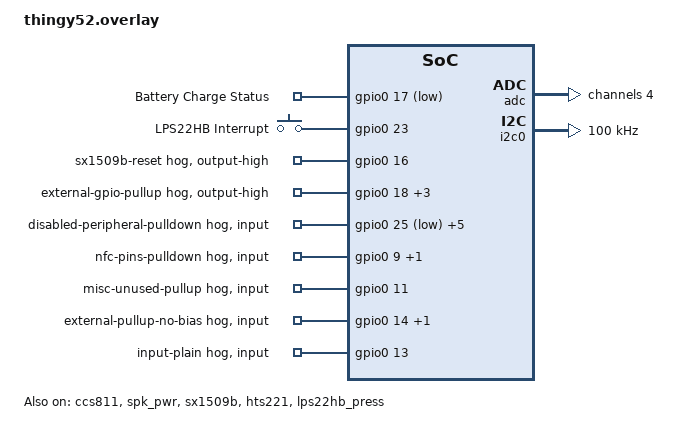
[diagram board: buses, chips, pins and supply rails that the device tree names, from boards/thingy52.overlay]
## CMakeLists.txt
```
#
# Copyright (c) 2020 Nordic Semiconductor ASA
#
# SPDX-License-Identifier: LicenseRef-Nordic-5-Clause
#
cmake_minimum_required(VERSION 3.20.0)

set_property(GLOBAL PROPERTY CSTD c11)

find_package(Zephyr REQUIRED HINTS $ENV{ZEPHYR_BASE})
project(nrf_thingy_env_monitor)

# NORDIC SDK APP START
target_sources(app PRIVATE
	src/main.c
	src/board.c
	src/sensor_manager.c
	src/sensor_hts221_driver.c
	src/sensor_lps22hb_driver.c
	src/sensor_ccs811_driver.c
	src/ble_advertiser.c
	src/battery_service.c
	src/ble_battery_service.c
	src/ess_service.c
	src/ess_encode.c
	src/uptime_service.c
	src/device_naming.c
	)

if(CONFIG_APP_SHELL)
	target_sources(app PRIVATE src/app_shell.c)
endif()

target_include_directories(app PRIVATE include)

# Add ST register API includes for HTS221 direct register access
target_include_directories(app PRIVATE $ENV{ZEPHYR_BASE}/drivers/sensor/st/stmemsc)
target_include_directories(app PRIVATE ${CMAKE_SOURCE_DIR}/../modules/zephyr/drivers/sensor/st/hts221)
target_include_directories(app PRIVATE ${CMAKE_SOURCE_DIR}/../modules/zephyr/drivers/sensor/st/lps22hb)
target_include_directories(app PRIVATE ${CMAKE_SOURCE_DIR}/../modules/zephyr/drivers/sensor/ams/ccs811)

# NORDIC SDK APP END
```

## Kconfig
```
mainmenu "BLE Environmental Sensor Configuration"

# Allow `west build ... -DCONFIG_COVERAGE=y` for the firmware build to emit
# .gcno files for every app/src/*.c at compile time. gcov instrumentation
# is purely a compile-time concern (it tags basic blocks via -fprofile-arcs
# -ftest-coverage); no runtime gcov dump is required for baseline reporting.
config HAS_COVERAGE_SUPPORT
	default y

config SENSOR_PERIODIC_SAMPLING
	bool "Periodic sensor sampling while connected"
	default n
	help
	  When enabled, env and air-quality sensors are re-read on a timer for
	  as long as at least one GATT client remains connected.

	  When disabled (default), the firmware reads sensors once at boot and
	  once on each new connection (plus on-demand via GATT read/notify).

config SENSOR_ENV_INTERVAL_SEC
	int "Environmental sensor sampling interval in seconds"
	default 900
	range 30 86400
	depends on SENSOR_PERIODIC_SAMPLING
	help
	  Period between environmental sensor reads (temperature, humidity,
	  pressure, battery) while a GATT client is connected. Also the base
	  period for the CCS811 read, scaled by SENSOR_AIR_QUALITY_DIVISOR.

config SENSOR_AIR_QUALITY_DIVISOR
	int "CCS811 read frequency divisor relative to main interval"
	default 2
	range 1 100
	depends on SENSOR_PERIODIC_SAMPLING
	help
	  CCS811 is read once every N intervals of SENSOR_ENV_INTERVAL_SEC.

config APP_SHELL
	bool "GATT-path debug shell"
	default n
	select SHELL
	select SHELL_BACKEND_SERIAL
	help
	  UART shell that invokes the same connect, characteristic-read, CCC,
	  and disconnect application paths a BLE central uses. Leave disabled
	  in production firmware.

source "Kconfig.zephyr"
```

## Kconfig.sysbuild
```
#
# Copyright (c) 2023 Nordic Semiconductor
#
# SPDX-License-Identifier: LicenseRef-Nordic-5-Clause
#

source "share/sysbuild/Kconfig"

config NRF_DEFAULT_IPC_RADIO
	bool
	default y
```

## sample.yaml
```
sample:
  description: BLE Environmental Sensor (ESS, BAS, DIS) for Thingy:52
  name: thingy52_env_monitor
tests:
  sample.bluetooth.mesh.sensor_server:
    sysbuild: true
    build_only: true
    integration_platforms:
      - nrf52dk/nrf52832
      - nrf52840dk/nrf52840
      - thingy53/nrf5340/cpuapp
      - nrf21540dk/nrf52840
      - nrf54l15dk/nrf54l15/cpuapp
      - nrf54l15dk/nrf54l10/cpuapp
      - nrf54l15dk/nrf54l05/cpuapp
    platform_allow:
      - nrf52dk/nrf52832
      - nrf52840dk/nrf52840
      - thingy53/nrf5340/cpuapp
      - nrf21540dk/nrf52840
      - nrf54l15dk/nrf54l15/cpuapp
      - nrf54l15dk/nrf54l10/cpuapp
      - nrf54l15dk/nrf54l05/cpuapp
    tags:
      - bluetooth
      - ci_build
      - sysbuild
  thingy52.env_monitor.hil.shell:
    platform_allow:
      - thingy52/nrf52832
    integration_platforms:
      - thingy52/nrf52832
    extra_args:
      - EXTRA_CONF_FILE=shell.conf
    harness: pytest
    harness_config:
      pytest_root:
        - tests/hardware_shell/pytest
      pytest_dut_scope: session
    timeout: 300
    min_ram: 48
    tags:
      - hil
      - shell
      - gatt
```

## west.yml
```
manifest:
  defaults:
    remote: ncs

  remotes:
    - name: ncs
      url-base: https://github.com/nrfconnect
    - name: ronan
      url-base: https://github.com/RonanB96
    - name: zephyrproject
      url-base: https://github.com/zephyrproject-rtos

  projects:
    # Custom Zephyr with CCS811 fixes and hal_nordic support
    - name: zephyr
      remote: ronan
      repo-path: sdk-zephyr
      path: modules/zephyr
      revision: ccs811_updates
      west-commands: scripts/west-commands.yml
      import:
        # Import only essential modules for Nordic nRF52832 BLE development
        file: west.yml
        name-allowlist:
          # Essential Nordic HAL for nRF52832
          - hal_nordic
          # Essential ST HAL for HTS221, LPS22HB sensors
          - hal_st
          # Essential modules for sensors and basic functionality
          - cmsis
          - fatfs
          - tinycrypt
          # Optional but useful for debugging
          - segger

    # Minimal NCS for samples defaults and DK library
    - name: sdk-nrf
      remote: ncs
      path: nrf
      revision: v3.0.2
      import:
        # Import minimal NCS components
        file: west.yml
        path-prefix: modules
        # Only include essential Nordic libraries
        name-allowlist:
          # Skip matter entirely for size optimization
          # Include essential Nordic libraries for nRF52832 BLE
          - mcuboot
          - nrfxlib

  self:
    path: app
```

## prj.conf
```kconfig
#
# Copyright (c) 2020 Nordic Semiconductor ASA
#
# SPDX-License-Identifier: LicenseRef-Nordic-5-Clause
#
# CONFIG_NCS_SAMPLES_DEFAULTS=y  # Disabled - pulls in unwanted modem/thread dependencies

# Deferred logging helps improve LPN power consumption
# when friendship is established.
CONFIG_LOG=y
CONFIG_LOG_MODE_DEFERRED=y
CONFIG_LOG_BUFFER_SIZE=4096
CONFIG_LOG_PROCESS_THREAD_STACK_SIZE=2048

# General configuration
CONFIG_NCS_APPLICATION_BOOT_BANNER_STRING="BLE Env Monitor"
CONFIG_SYSTEM_WORKQUEUE_STACK_SIZE=16384
CONFIG_MAIN_STACK_SIZE=4096
CONFIG_IDLE_STACK_SIZE=2048
CONFIG_ISR_STACK_SIZE=4096
CONFIG_FLASH=y
CONFIG_FLASH_MAP=y
CONFIG_NVS=y
CONFIG_NVS_LOOKUP_CACHE=y
CONFIG_SETTINGS=y
CONFIG_SETTINGS_NVS_NAME_CACHE=y
CONFIG_HWINFO=y
CONFIG_DK_LIBRARY=y
CONFIG_PM_PARTITION_SIZE_SETTINGS_STORAGE=0x8000
CONFIG_FPU=y
CONFIG_CBPRINTF_FP_SUPPORT=y

# Temperature sensor
CONFIG_SENSOR=y
CONFIG_TEMP_NRF5=y

# ADC for battery monitoring
CONFIG_ADC=y

# Bluetooth configuration for advertising
CONFIG_BT=y
CONFIG_BT_DEVICE_NAME="BLE Env Monitor"
CONFIG_BT_L2CAP_TX_BUF_COUNT=8
CONFIG_BT_OBSERVER=y
CONFIG_BT_PERIPHERAL=y
CONFIG_BT_SETTINGS=y

# Enable Bluetooth security features for production
CONFIG_BT_CTLR_LE_ENC=y
CONFIG_BT_PHY_UPDATE=n
CONFIG_BT_CTLR_CHAN_SEL_2=n
CONFIG_BT_CTLR_MIN_USED_CHAN=n
CONFIG_BT_CTLR_PRIVACY=n

# BLE Advertising configuration - use legacy advertising for nRF52832
# CONFIG_BT_EXT_ADV=y

# BLE radio TX power. 0 dBm is the controller default; chosen explicitly here
# to make the power/range trade-off auditable. Drop to MINUS_4 / MINUS_8 if
# range allows, for further idle current reduction.
CONFIG_BT_CTLR_TX_PWR_0=y

# BLE Services
CONFIG_BT_BAS=y
CONFIG_BT_BAS_BLS=y

# Device Information Service (DIS)
CONFIG_BT_DIS=y
CONFIG_BT_DIS_MANUF_NAME=y
CONFIG_BT_DIS_MANUF_NAME_STR="Nordic Semiconductor"
CONFIG_BT_DIS_MODEL_NUMBER=y
CONFIG_BT_DIS_MODEL_NUMBER_STR="Thingy:52"
CONFIG_BT_DIS_SERIAL_NUMBER=y
CONFIG_BT_DIS_SERIAL_NUMBER_STR="ENV001"
CONFIG_BT_DIS_FW_REV=y
CONFIG_BT_DIS_FW_REV_STR="1.0.0"
CONFIG_BT_DIS_HW_REV=y
CONFIG_BT_DIS_HW_REV_STR="1.0"
CONFIG_BT_DIS_SW_REV=y
CONFIG_BT_DIS_SW_REV_STR="Zephyr"

# Environmental sensor sampling intervals (ultra-low power)
# Temperature, humidity, pressure, CO2, VOC: every 15 minutes
# Battery level: every 6 hours
# This configuration targets weeks to months of battery life

# === POWER MANAGEMENT ===
CONFIG_PM=y
CONFIG_PM_DEVICE=y
CONFIG_PM_DEVICE_RUNTIME=y

# Logging optimization to prevent message drops
CONFIG_LOG_DEFAULT_LEVEL=3
CONFIG_BT_LOG_LEVEL_INF=y

# Stack protection
CONFIG_STACK_CANARIES=y

# Use dedicated BT RX workqueue
CONFIG_BT_RECV_WORKQ_BT=y

# Debug
CONFIG_DEBUG=y
```

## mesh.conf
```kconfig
# Bluetooth Mesh configuration - Optimized for ultra-low power
# This file contains all mesh-specific configurations
# Include this file when you want to enable mesh functionality

CONFIG_BT_MESH=y
CONFIG_BT_MESH_RELAY=n
CONFIG_BT_MESH_FRIEND=n
CONFIG_BT_MESH_LOW_POWER=y
CONFIG_BT_MESH_LPN_AUTO=y
CONFIG_BT_MESH_LPN_ESTABLISHMENT=y

# Ultra-low power mesh timing (extend battery life to weeks/months)
# Maximum allowed poll timeout (244735ms ≈ 4 minutes)
CONFIG_BT_MESH_LPN_POLL_TIMEOUT=244735
# 200ms receive delay (within valid range)
CONFIG_BT_MESH_LPN_RECV_DELAY=200
# Maximum initial poll timeout (300ms)
CONFIG_BT_MESH_LPN_INIT_POLL_TIMEOUT=300

# Reduce mesh overhead for sensors
# Reduce max segments (was 6)
CONFIG_BT_MESH_TX_SEG_MAX=3
CONFIG_BT_MESH_PB_GATT=y
CONFIG_BT_MESH_GATT_PROXY=y
CONFIG_BT_MESH_PROXY_USE_DEVICE_NAME=y
CONFIG_BT_MESH_DK_PROV=y
CONFIG_BT_MESH_MODEL_KEY_COUNT=2

# Bluetooth Mesh Security Features
CONFIG_BT_MESH_FRIEND_ENABLED=n
CONFIG_BT_MESH_PROVISIONER=n
CONFIG_BT_MESH_PB_ADV=y
# Enhanced security for production
CONFIG_BT_MESH_IV_UPDATE_TEST=n
# Enable OOB authentication support
CONFIG_BT_MESH_ECDH_P256_CMAC_AES128_AES_CCM=y
CONFIG_BT_MESH_ECDH_P256_HMAC_SHA256_AES_CCM=y

# Bluetooth Mesh models
CONFIG_BT_MESH_SENSOR_SRV=y
CONFIG_BT_MESH_SENSOR_SRV_SENSORS_MAX=6

# Model extension configuration - match actual usage (2 extensions used)
CONFIG_BT_MESH_MODEL_EXTENSION_LIST_SIZE=2

# Stack sizes for mesh
CONFIG_BT_MESH_ADV_STACK_SIZE=1024
CONFIG_BT_RX_STACK_SIZE=3584

# Reduce mesh message config for power savings
# Reduce from 20
CONFIG_BT_MESH_ACCESS_DELAYABLE_MSG_CHUNK_COUNT=10
CONFIG_BT_MESH_TX_SEG_MSG_COUNT=1
# Reduce from 3
CONFIG_BT_MESH_ACCESS_DELAYABLE_MSG_COUNT=2

# Additional power optimizations
# Scan latency for LPN
CONFIG_BT_MESH_LPN_SCAN_LATENCY=30
# Reduce message cache
CONFIG_BT_MESH_MSG_CACHE_SIZE=2
# Single subnet only
CONFIG_BT_MESH_SUBNET_COUNT=1
# Single app key
CONFIG_BT_MESH_APP_KEY_COUNT=1

# Logging optimization
CONFIG_BT_MESH_LOG_LEVEL_WRN=y
```

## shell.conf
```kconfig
# Opt-in GATT-path debug shell. Do not enable in production firmware.

CONFIG_APP_SHELL=y

# Logs and the prompt share the FTDI UART.
CONFIG_SHELL_LOG_BACKEND=y
CONFIG_LOG_BACKEND_UART=n

# Trim RAM on nRF52832. Do not enable Zephyr BT/sensor shells.
CONFIG_SHELL_STACK_SIZE=2048
CONFIG_SHELL_CMD_BUFF_SIZE=128
CONFIG_SHELL_HISTORY=n
CONFIG_SHELL_WILDCARD=n
CONFIG_BT_SHELL=n
CONFIG_SENSOR_SHELL=n
CONFIG_KERNEL_SHELL=n
CONFIG_DEVICE_SHELL=n
```

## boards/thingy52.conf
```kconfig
# Thingy:52 Board-Specific Low Power Configuration
# Board-specific overrides for ultra-low power environmental monitoring
# Duplicates from prj.conf are removed - only Thingy52-specific settings remain

# === THINGY52 SENSOR CONFIGURATION ===
CONFIG_I2C=y
CONFIG_HTS221=y        # Temperature and humidity sensor (Thingy52 specific)
CONFIG_LPS22HB=y       # Pressure sensor (Thingy52 specific)
CONFIG_CCS811=y        # Gas sensor (Thingy52 specific)

# === SENSOR POWER OPTIMIZATION ===
# Default: sample at boot and on GATT connect only. Enable periodic sampling
# explicitly if a connected client should receive timed updates:
# CONFIG_SENSOR_PERIODIC_SAMPLING=y
# CONFIG_SENSOR_ENV_INTERVAL_SEC=900
# CONFIG_SENSOR_AIR_QUALITY_DIVISOR=2
CONFIG_HTS221_ODR="1"
CONFIG_LPS22HB_SAMPLING_RATE=1

# # === CCS811 AIR QUALITY SENSOR OPTIMIZATION ===
# Zephyr driver default mode (app overrides to IDLE after init; 10s during conditioning).
CONFIG_CCS811_DRIVE_MODE_2=y    # 10-second mode — matches Nordic Thingy:52 default gas interval

# Enable interrupt-based CCS811 data ready triggers
CONFIG_CCS811_TRIGGER_GLOBAL_THREAD=y
CONFIG_TEMP_NRF5=n     # Disable generic temp sensor (conflicts with HTS221)

# # Initialize CCS regulator after SX1509B
# CONFIG_REGULATOR_FIXED_INIT_PRIORITY=70

# === THINGY52 DEVICE NAMING ===
CONFIG_BT_DEVICE_NAME="Thingy52 BLE Monitor"
CONFIG_BT_DEVICE_NAME_DYNAMIC=y
CONFIG_BT_DEVICE_NAME_MAX=64

# === THINGY52 MEMORY OPTIMIZATION (Override main config for limited RAM) ===
CONFIG_MAIN_STACK_SIZE=4096
CONFIG_SYSTEM_WORKQUEUE_STACK_SIZE=4096
# Override: Reduce from 320 to 320
CONFIG_IDLE_STACK_SIZE=320
# Override: Reduce from 4096 to 512
CONFIG_ISR_STACK_SIZE=512
CONFIG_HEAP_MEM_POOL_SIZE=4096

# === THINGY52 BLE BUFFER OPTIMIZATION ===
# Override: Reduce from 8 to 4 for advertising
CONFIG_BT_L2CAP_TX_BUF_COUNT=4

# === BLE CONNECTED POWER (PPCP) ===
# Firmware samples on its own schedule (900 s env, 1800 s AQ); centrals may
# poll faster. PPCP advertises a preference for fewer connection events.
# Interval 3200 = 4000 ms (BLE maximum). Latency 80 is the highest that fits
# the Zephyr Kconfig timeout ceiling (65535 × 10 ms ≈ 655 s supervision).
# Central has final say; defaults were 30–50 ms with zero latency.
CONFIG_BT_GAP_PERIPHERAL_PREF_PARAMS=y
CONFIG_BT_GAP_AUTO_UPDATE_CONN_PARAMS=y
CONFIG_BT_PERIPHERAL_PREF_MIN_INT=3200
CONFIG_BT_PERIPHERAL_PREF_MAX_INT=3200
CONFIG_BT_PERIPHERAL_PREF_LATENCY=80
CONFIG_BT_PERIPHERAL_PREF_TIMEOUT=65535

# === THINGY52 POWER SAVINGS ===
CONFIG_DK_LIBRARY=n    # Override: Disable DK board features (not needed on Thingy52)
CONFIG_LED=n           # Disable LEDs completely (no user LEDs needed)

# === DISABLE UNUSED NRF FEATURES (BLE-only project) ===
CONFIG_NRF_MODEM_LIB=n  # Disable modem library (LTE/GPS not needed)
CONFIG_OPENTHREAD=n     # Disable Thread networking (BLE only)
# GPIO Configuration for Thingy:52 hardware control
CONFIG_GPIO=y          # Keep GPIO for sensors and battery monitoring
CONFIG_GPIO_HOGS=y     # Enable GPIO HOG support for P0.16 SX1509B reset
CONFIG_PWM=n           # Disable PWM completely
CONFIG_SPI=n           # Disable SPI completely
# CONFIG_UART_CONSOLE=n  # Disable UART console for power savings
# CONFIG_SERIAL=n        # Disable serial completely
# CONFIG_CONSOLE=n       # Disable console
# CONFIG_STDOUT_CONSOLE=n # Disable stdout
# CONFIG_PRINTK=n        # Disable printk for maximum power savings
# CONFIG_EARLY_CONSOLE=n  # Disable early console
# CONFIG_BOOT_BANNER=n   # Disable boot banner

# === THINGY52 CLOCK OPTIMIZATION ===
CONFIG_CLOCK_CONTROL_NRF_K32SRC_XTAL=y    # Use external 32kHz crystal (more accurate, lower power)
CONFIG_CLOCK_CONTROL_NRF_K32SRC_500PPM=y  # 500ppm accuracy sufficient

CONFIG_PM=n # Not valid for nrf52832

# === THINGY52 LOGGING OPTIMIZATION ===
CONFIG_SENSOR_LOG_LEVEL_INF=y
# Global warning level for power savings
CONFIG_LOG_DEFAULT_LEVEL=3
```

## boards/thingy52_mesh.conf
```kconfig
# Thingy52 Mesh-specific configuration
# Board-specific mesh overrides for ultra-low power

# === THINGY52 ULTRA-LOW POWER LPN SETTINGS (More aggressive than main) ===
# Override: More aggressive than main (30→50)
CONFIG_BT_MESH_LPN_SCAN_LATENCY=50
# Override: Use shorter timeout for initial testing (within valid range 10-244735)
CONFIG_BT_MESH_LPN_POLL_TIMEOUT=30000

# === THINGY52 MESH BUFFER OPTIMIZATION ===
# Override: Reduce from 8 to 2 for power savings
CONFIG_BT_L2CAP_TX_BUF_COUNT=2
```

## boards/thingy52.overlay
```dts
/*
 * Copyright (c) 2024 Nordic Semiconductor ASA
 *
 * SPDX-License-Identifier: LicenseRef-Nordic-5-Clause
 */

/*
 * Thingy52 Environmental Monitor Overlay
 * - Ensures sensors are properly configured
 * - Disables LEDs and buttons for power savings
 * - Uses Nordic's board.c power control approach for CCS811
 * - Configures all GPIO pins for optimal power consumption
 */

/* Ensure ADC is enabled for battery monitoring */
&adc {
	status = "okay";
	#address-cells = <1>;
	#size-cells = <0>;

	channel@4 {
		reg = <4>;
		zephyr,gain = "ADC_GAIN_1";
		zephyr,reference = "ADC_REF_INTERNAL";
		zephyr,acquisition-time = <ADC_ACQ_TIME(ADC_ACQ_TIME_MICROSECONDS, 40)>;
		zephyr,input-positive = <5>;  /* SAADC_CH_PSELP_PSELP_AnalogInput0 (1) + channel (4) = 5 */
		zephyr,resolution = <14>;
		zephyr,oversampling = <4>;    /* 4x oversampling for noise reduction like Nordic sample */
	};
};

/* Configure GPIO0 for SX1509B reset control */
&gpio0 {
	status = "okay";
	/*
	 * gpio-line-names: one entry per pin, empty string means no named owner.
	 * Names are taken from the DT node labels that reference each pin so this
	 * file remains the single source of truth consumed by board.c debug output.
	 */
	gpio-line-names =
		"xl1",         /* P0.00  XL1  (32 kHz crystal)               */
		"xl2",         /* P0.01  XL2  (32 kHz crystal)               */
		"uart0-rx",    /* P0.02  uart0 pinctrl RX                    */
		"uart0-tx",    /* P0.03  uart0 pinctrl TX                    */
		"ain2-vbatt",  /* P0.04  AIN2 (vbatt ADC)                    */
		"sx-oscio",    /* P0.05  SX_OSCIO (I/O expander oscillator)  */
		"mpu-int",     /* P0.06  MPU_INT (motion sensor interrupt)    */
		"i2c0-sda",    /* P0.07  i2c0 pinctrl SDA (sensors)          */
		"i2c0-scl",    /* P0.08  i2c0 pinctrl SCL (sensors)          */
		"nfc1",        /* P0.09  NFC1 (antenna, NFC disabled)        */
		"nfc2",        /* P0.10  NFC2 (antenna, NFC disabled)        */
		"button0",     /* P0.11  button0 gpios                       */
		"lis2dh12-irq",/* P0.12  lis2dh12 irq-gpios                  */
		"usb-detect",  /* P0.13  USB detect signal                   */
		"i2c1-sda",    /* P0.14  i2c1 pinctrl SDA (ext sensors)      */
		"i2c1-scl",    /* P0.15  i2c1 pinctrl SCL (ext sensors)      */
		"sx1509b-rst", /* P0.16  SX1509B hardware reset              */
		"charge-status",/* P0.17 charge_status gpios                 */
		"mos1",        /* P0.18  MOS_1 (N-MOSFET gate)               */
		"mos2",        /* P0.19  MOS_2 (N-MOSFET gate)               */
		"mos3",        /* P0.20  MOS_3 (N-MOSFET gate)               */
		"mos4",        /* P0.21  MOS_4 (N-MOSFET gate)               */
		"ccs811-irq",  /* P0.22  ccs811 irq-gpios                    */
		"lps22hb-int", /* P0.23  lps22hb interrupt                   */
		"hts221-drdy", /* P0.24  hts221 drdy-gpios                   */
		"mic-dout",    /* P0.25  MIC_DOUT (PDM data, disabled)       */
		"mic-clk",     /* P0.26  MIC_CLK  (PDM clock, disabled)      */
		"speaker",     /* P0.27  SPEAKER  (PWM, disabled)            */
		"battery-adc", /* P0.28  Battery monitoring (ADC AIN4)       */
		"spk-pwr",     /* P0.29  spk_pwr enable-gpios                */
		"vdd-pwr",     /* P0.30  vdd_pwr enable-gpios                */
		"bh-int";      /* P0.31  BH_INT (colour sensor interrupt)    */
};

/* Ensure battery voltage monitoring is enabled */
/ {
	vbatt {
		status = "okay";
		power-on-sample-delay-us = <10000>;  /* 10ms delay after power on for voltage stabilization */
	};

	/* Battery charging detection GPIO */
	charging {
		compatible = "gpio-keys";
		charge_status: charge_status {
			gpios = <&gpio0 17 GPIO_ACTIVE_LOW>;
			label = "Battery Charge Status";
		};
	};
};

/*
	CCS811 - Power Configuration
	Keep ccs_pwr disabled due to SX1509B initialization dependency issues.
	SX1509B pin 10 controlled via init-out-low instead.
	Use main VDD supply for CCS811 to avoid circular dependencies.
*/
&ccs811 {
	status = "okay";
	vin-supply = <&vdd_pwr>;  /* Use main VDD power supply */
	irq-gpios = <&gpio0 22 (GPIO_ACTIVE_LOW | GPIO_PULL_UP)>;
};

// Enabled by turned off by default
&spk_pwr {
	status = "okay";
};

// Leaving disabled as the cannot be used with the IO expander
// due to initialization timing issues
&ccs_pwr {
	status = "disabled";
};

&mpu_pwr {
	status = "disabled";
	/* IO8 - MPU power control - starts disabled (OUTPUT LOW) */
};

&mic_pwr {
	status = "disabled";
	/* IO9 - Microphone power control - starts disabled (OUTPUT LOW) */
};

/* SX1509B GPIO Expander - Configure initialization priority */
&sx1509b {
	status = "okay";
};

/* Ensure environmental sensors are enabled (they exist in base DTS but may need status = "okay") */
&hts221 {
	status = "okay";
	// drdy-gpios = <&gpio0 24 GPIO_ACTIVE_LOW>;
};

&lps22hb_press {
	status = "okay";
};

/* Disable LEDs for power savings (LEDs are controlled by SX1509B GPIO expander) */
&led0 {
	status = "disabled";
};

&led1 {
	status = "disabled";
};

&led2 {
	status = "disabled";
};

/* Disable buttons for power savings */
&button0 {
	status = "disabled";
};

/* Disable unused peripherals to save power */
&spi0 {
	status = "disabled";
};

&spi1 {
	status = "disabled";
};

&spi2 {
	status = "disabled";
};

/* Disable UART1 for power savings */
// &uart1 {
// 	status = "disabled";
// };

/* Disable PWM for power savings */
&pwm0 {
	status = "disabled";
};

&pwm1 {
	status = "disabled";
};

&pwm2 {
	status = "disabled";
};

/* Disable unused timers */
&timer0 {
	status = "disabled";
};

&timer1 {
	status = "disabled";
};

&timer2 {
	status = "disabled";
};

&timer3 {
	status = "disabled";
};

&timer4 {
	status = "disabled";
};

/* All timers disabled - Zephyr will use RTC for system timing */

/* Disable motion sensor and its power supply for maximum power savings */
&lis2dh12 {
	status = "disabled";
};

/* Reduce I2C clock frequencies for power savings */
&i2c0 {
	clock-frequency = <100000>; /* Reduce from 400kHz to 100kHz */
};

/* Disable I2C1 - unused since motion sensor and LEDs are disabled */
&i2c1 {
	status = "disabled";
};

/*
 * ============================================================================
 * NRF52832 CPU GPIO PINOUT - THINGY52 BOARD CONFIGURATION (Official Nordic Pinout)
 * ============================================================================
 *
 * Pin | Label                 | Description                                    | Configuration
 * ----|-----------------------|------------------------------------------------|------------------
 * P0.00| XL1                  | Low frequency crystal                          | PERIPHERAL
 * P0.01| XL2                  | Low frequency crystal                          | PERIPHERAL
 * P0.02| ANA/DIG0             | Analog/Digital GPIO externally available       | UART_RX (Debug)
 * P0.03| ANA/DIG1             | Analog/Digital GPIO externally available       | UART_TX (Debug)
 * P0.04| ANA/DIG2             | Analog/Digital GPIO externally available       | INPUT_PULLUP
 * P0.05| SX_OSCIO             | I/O expander oscillator input line             | INPUT_PULLUP
 * P0.06| MPU_INT              | Motion sensor interrupt line                   | INPUT_PULLDOWN
 * P0.07| SDA                  | I2C data line                                  | I2C0_SDA
 * P0.08| SCL                  | I2C clock line                                 | I2C0_SCL
 * P0.09| NFC1                 | Near field communication antenna               | INPUT_PULLUP (NFC disabled)
 * P0.10| NFC2                 | Near field communication antenna               | INPUT_PULLUP (NFC disabled)
 * P0.11| BUTTON               | Button input                                   | INPUT_PULLUP
 * P0.12| LIS_INT1             | Low power accelerometer interrupt line         | INPUT_PULLDOWN (disabled)
 * P0.13| USB_DETECT           | USB detect signal                              | INPUT
 * P0.14| SDA_EXT              | External and low power accelerometer I2C data  | INPUT_NO_BIAS (ext pullup)
 * P0.15| SCL_EXT              | External and low power accelerometer I2C clock | INPUT_NO_BIAS (ext pullup)
 * P0.16| SX_RESET             | I/O expander reset line                        | OUTPUT_HIGH (ext pullup)
 * P0.17| BAT_CHG_STAT         | Battery charge status                          | INPUT (voltage divider)
 * P0.18| MOS_1                | Gate of N-MOS transistor externally available  | INPUT_PULLUP
 * P0.19| MOS_2                | Gate of N-MOS transistor externally available  | INPUT_PULLUP
 * P0.20| MOS_3                | Gate of N-MOS transistor externally available  | INPUT_PULLUP
 * P0.21| MOS_4                | Gate of N-MOS transistor externally available  | INPUT_PULLUP
 * P0.22| CCS_INT              | Gas sensor interrupt line                      | INPUT_PULLDOWN
 * P0.23| LPS_INT              | Pressure sensor interrupt line                 | INPUT_PULLDOWN
 * P0.24| HTS_INT              | Humidity sensor interrupt line                 | INPUT_PULLDOWN
 * P0.25| MIC_DOUT             | Microphone PDM data                            | INPUT_PULLDOWN (disabled)
 * P0.26| MIC_CLK              | Microphone PDM clock                           | INPUT_PULLDOWN (disabled)
 * P0.27| SPEAKER              | Speaker PWM signal                             | OUTPUT_LOW (disabled)
 * P0.28| BATTERY              | Battery monitoring input                       | ADC_INPUT (AIN4)
 * P0.29| SPK_PWR_CTRL         | Speaker amplifier power control                | OUTPUT_LOW
 * P0.30| VDD_PWD_CTRL         | Power control for sensors, I/O expander, LEDs  | OUTPUT_HIGH
 * P0.31| BH_INT               | Colour sensor interrupt line                   | INPUT_PULLDOWN
 */


/* Configure all unused nRF52832 pins for optimal power consumption */

/* GPIO hogs must be children of the GPIO controller, not standalone nodes */
&gpio0 {
	/* SX1509B reset pin - MUST be output-high for proper operation */
	sx1509b-reset-hog {
		gpio-hog;
		gpios = <16 GPIO_ACTIVE_HIGH>;   /* P0.16 SX_RESET - I/O expander reset (drive high) */
		output-high;  /* Drive high to keep SX1509B out of reset */
		line-name = "sx1509b-reset";
	};

	/* External GPIO pins - pullup to prevent floating */
	external-gpio-hog {
		gpio-hog;
		gpios = <18 GPIO_ACTIVE_HIGH>,   /* P0.18 MOS_1 - N-MOSFET gate */
			<19 GPIO_ACTIVE_HIGH>,   /* P0.19 MOS_2 - N-MOSFET gate */
			<20 GPIO_ACTIVE_HIGH>,   /* P0.20 MOS_3 - N-MOSFET gate */
			<21 GPIO_ACTIVE_HIGH>;   /* P0.21 MOS_4 - N-MOSFET gate */
		output-high;
		line-name = "external-gpio-pullup";
	};

	/* Disabled peripherals - pulldown to prevent leakage */
	disabled-peripheral-hog {
		gpio-hog;
		gpios = <25 (GPIO_ACTIVE_LOW | GPIO_PULL_DOWN)>,    /* P0.25 MIC_DOUT - microphone PDM data (disabled) */
			<26 (GPIO_ACTIVE_LOW | GPIO_PULL_DOWN)>,    /* P0.26 MIC_CLK - microphone PDM clock (disabled) */
			<6 (GPIO_ACTIVE_HIGH | GPIO_PULL_DOWN)>,    /* P0.06 MPU_INT - motion sensor interrupt (disabled) */
			<12 (GPIO_ACTIVE_HIGH | GPIO_PULL_DOWN)>,   /* P0.12 LIS_INT1 - accelerometer interrupt (disabled) */
			<31 (GPIO_ACTIVE_HIGH | GPIO_PULL_DOWN)>,   /* P0.31 BH_INT - colour sensor interrupt */
			<27 (GPIO_ACTIVE_LOW | GPIO_PULL_DOWN)>;    /* P0.27 SPEAKER - speaker PWM signal (disabled) */
		input;
		line-name = "disabled-peripheral-pulldown";
	};

	/* NFC pins - pulldown (NFC disabled for power savings) */
	nfc-pins-hog {
		gpio-hog;
		gpios = <9 (GPIO_ACTIVE_HIGH | GPIO_PULL_DOWN)>,    /* P0.09 NFC1 - Near field communication antenna */
			<10 (GPIO_ACTIVE_HIGH | GPIO_PULL_DOWN)>;   /* P0.10 NFC2 - Near field communication antenna */
		input;
		line-name = "nfc-pins-pulldown";
	};

	/* Other unused pins - pullup to prevent floating */
	misc-unused-hog {
		gpio-hog;
		gpios = <11 (GPIO_ACTIVE_HIGH | GPIO_PULL_UP)>;   /* P0.11 BUTTON - button input (disabled) */
		input;
		line-name = "misc-unused-pullup";
	};

	/* External pullup pins - no internal bias to avoid current conflict */
	external-pullup-hog {
		gpio-hog;
		gpios = <14 GPIO_ACTIVE_HIGH>,   /* P0.14 SDA_EXT - external I2C data (has external pullup) */
			<15 GPIO_ACTIVE_HIGH>;   /* P0.15 SCL_EXT - external I2C clock (has external pullup) */
		input;
		line-name = "external-pullup-no-bias";
	};
	input-plain {
		gpio-hog;
		gpios = <13 GPIO_ACTIVE_HIGH>;   /* P0.13 USB_DETECT - USB detect signal */
		input;
		line-name = "input-plain";
	};
};

/* Configure SX1509B GPIO expander for power optimization - use Nordic's proven approach */
&sx1509b {
	/*
	 * ============================================================================
	 * THINGY52 SX1509B GPIO EXPANDER PIN CONFIGURATION (Official Nordic Pinout)
	 * ============================================================================
	 *
	 * Pin | Label             | Description                                    | Configuration
	 * ----|-------------------|------------------------------------------------|------------------
	 * IO0 | IOEXT0            | Digital GPIO externally available             | OUTPUT_LOW (driven)
	 * IO1 | IOEXT1            | Digital GPIO externally available             | OUTPUT_LOW (driven)
	 * IO2 | IOEXT2            | Digital GPIO externally available             | OUTPUT_LOW (driven)
	 * IO3 | IOEXT3            | Digital GPIO externally available             | OUTPUT_LOW (driven)
	 * IO4 | BAT_MON_EN        | Battery monitoring enable                      | OUTPUT_LOW (disabled)
	 * IO5 | LIGHTWELL_G       | Green color of the lightwell LEDs             | OUTPUT_HIGH (LEDs off)
	 * IO6 | LIGHTWELL_B       | Blue color of the lightwell LEDs              | OUTPUT_HIGH (LEDs off)
	 * IO7 | LIGHTWELL_R       | Red color of the lightwell LEDs               | OUTPUT_HIGH (LEDs off)
	 * IO8 | MPU_PWR_CTRL      | Motion sensor power control                   | OUTPUT_LOW (power off)
	 * IO9 | MIC_PWR_CTRL      | Microphone power control                      | OUTPUT_LOW (power off)
	 * IO10| CCS_PWR_CTRL      | Gas sensor power control                      | OUTPUT_HIGH (power on)
	 * IO11| CCS_RESET         | Gas sensor reset line                         | OUTPUT_LOW (in reset)
	 * IO12| CCS_WAKE          | Gas sensor wake line                          | OUTPUT_LOW (awake)
	 * IO13| SENSE_LED_R       | Red color of the color sensor support LED     | OUTPUT_HIGH (LED off)
	 * IO14| SENSE_LED_G       | Green color of the color sensor support LED   | OUTPUT_HIGH (LED off)
	 * IO15| SENSE_LED_B       | Blue color of the color sensor support LED    | OUTPUT_HIGH (LED off)
	 *
	 * ============================================================================
	 */

	/* Use Nordic's proven init values with power optimization - critical for early boot pin states */
	/* This sets pin directions and initial output states during driver init */
	init-out-high = <0xe4e0>;  /* Pins HIGH: 15,14,13,10,7,6,5 (CCS811 powered, LEDs off) */
	init-out-low = <0x1b1f>;   /* Pins LOW: 12,11,9,8,4,3,2,1,0 (MPU/MIC power off, CCS811 control) */

	/* Pin descriptions using official Nordic labels */
	gpio-line-names =
		"IOEXT0",            /* IO0 - Digital GPIO externally available */
		"IOEXT1",            /* IO1 - Digital GPIO externally available */
		"IOEXT2",            /* IO2 - Digital GPIO externally available */
		"IOEXT3",            /* IO3 - Digital GPIO externally available */
		"BAT_MON_EN",        /* IO4 - Battery monitoring enable */
		"LIGHTWELL_G",       /* IO5 - Green color of the lightwell LEDs */
		"LIGHTWELL_B",       /* IO6 - Blue color of the lightwell LEDs */
		"LIGHTWELL_R",       /* IO7 - Red color of the lightwell LEDs */
		"MPU_PWR_CTRL",      /* IO8 - Motion sensor power control */
		"MIC_PWR_CTRL",      /* IO9 - Microphone power control */
		"CCS_PWR_CTRL",      /* IO10 - Gas sensor power control */
		"CCS_RESET",         /* IO11 - Gas sensor reset line */
		"CCS_WAKE",          /* IO12 - Gas sensor wake line */
		"SENSE_LED_R",       /* IO13 - Red color of the color sensor support LED */
		"SENSE_LED_G",       /* IO14 - Green color of the color sensor support LED */
		"SENSE_LED_B";       /* IO15 - Blue color of the color sensor support LED */
};

/* Disable RTCs if not needed for timekeeping */
&rtc0 {
	status = "disabled";
};

&rtc1 {
	status = "disabled";
};

&rtc2 {
	status = "disabled";
};

/* Disable I2S audio interface */
&i2s0 {
	status = "disabled";
};

/* Disable PDM microphone interface */
&pdm0 {
	status = "disabled";
};

/* Disable quadrature decoder */
&qdec {
	status = "disabled";
};

/* Disable comparator */
&comp {
	status = "disabled";
};

/* Disable software PWM */
&sw_pwm {
	status = "disabled";
};

/* Disable NFC if not used */
&nfct {
	status = "disabled";
};

/* Disable temperature sensor (use external HTS221 instead) */
&temp {
	status = "disabled";
};

/* Configure GPIO pins for optimal power consumption */
/ {
	/* Keep only essential sensor interrupt definitions that are actually used by drivers */
	gpio-inputs {
		compatible = "gpio-keys";

		/* Only keep interrupt pins that are actually used by the sensor drivers */
		lps22hb_int: lps22hb_int_23 {
			gpios = <&gpio0 23 (GPIO_ACTIVE_HIGH | GPIO_PULL_DOWN)>;
			label = "LPS22HB Interrupt";
		};
	};

	/* Remove all other GPIO configurations - handle critical pins in board.c */
};
```

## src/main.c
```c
/*
 * Copyright (c) 2024 Nordic Semiconductor ASA
 *
 * SPDX-License-Identifier: LicenseRef-Nordic-5-Clause
 */

/** @file
 *  @brief Nordic BLE environmental sensor
 */
#include <zephyr/kernel.h>
#include <zephyr/logging/log.h>
#include <zephyr/settings/settings.h>
#include <string.h>
#include "ble_advertiser.h"
#include "ble_battery_service.h"
#include "ess_service.h"
#include "sensor_manager.h"
#include "uptime_service.h"
#include "device_naming.h"
#include "board.h"

LOG_MODULE_REGISTER(main, CONFIG_LOG_DEFAULT_LEVEL);

static const uint32_t BOARD_INIT_DELAY_MS = 500U;     /* Allow GPIO hog driver to initialize */
static const uint32_t BT_STACK_READY_DELAY_MS = 100U; /* Delay waiting for BT stack ready */

int main(void)
{
	int ret;
	struct sensor_data sensor_data;
	struct ble_sensor_data ble_data;

	LOG_INF("Starting BLE Environmental Monitor");

	/* Allow GPIO hog driver to complete initialization */
	k_msleep((int32_t)BOARD_INIT_DELAY_MS);

	/* Initialize device naming service first */
	LOG_DBG("Initializing device naming service");
	ret = device_naming_init();
	if (ret) {
		LOG_ERR("Device naming service initialization failed: %d", ret);
		/* Continue with fallback naming */
	}

	/* Initialize BLE advertiser */
	LOG_DBG("Initializing BLE advertiser");
	ret = ble_advertiser_init();
	if (ret) {
		LOG_ERR("BLE advertiser initialization failed: %d", ret);
		return ret;
	}
	LOG_INF("BLE advertiser initialized");

	/* Initialize settings */
	if (IS_ENABLED(CONFIG_SETTINGS)) {
		LOG_DBG("Initializing settings subsystem");
		ret = settings_subsys_init();
		if (ret) {
			LOG_ERR("Settings init failed: %d", ret);
			return ret;
		}
		LOG_DBG("Loading settings");
		settings_load();
		LOG_DBG("Settings loaded successfully");
	}

	/* Initialize sensor manager */
	LOG_DBG("Initializing sensor manager");
	ret = sensor_manager_init();
	if (ret) {
		LOG_ERR("Sensor manager initialization failed: %d", ret);
		return ret;
	}
	LOG_INF("Sensor manager initialized");

	/* Initialize BLE Battery Service after hardware is ready */
	LOG_DBG("Initializing BLE Battery Service");
	ret = ble_battery_service_init();
	if (ret) {
		LOG_ERR("BLE Battery Service initialization failed: %d", ret);
		return ret;
	}
	LOG_INF("BLE Battery Service initialized");

	/* Initialize Environmental Sensing Service.
	 * ESS registers a callback with sensor_manager on init, so this MUST run
	 * before sensor_manager_arm() (otherwise arm() returns -EINVAL).
	 */
	LOG_DBG("Initializing Environmental Sensing Service");
	ret = ess_service_init();
	if (ret) {
		LOG_ERR("ESS initialization failed: %d", ret);
		return ret;
	}
	LOG_INF("Environmental Sensing Service initialized");

	/* Arm the sensor manager. All sensor sampling is gated on a GATT client
	 * being connected (see sensor_manager_on_connected()).
	 */
	ret = sensor_manager_arm();
	if (ret) {
		LOG_ERR("sensor_manager_arm failed: %d", ret);
		return ret;
	}

	/* Initialize Uptime Service */
	LOG_DBG("Initializing Uptime Service");
	ret = uptime_service_init();
	if (ret) {
		LOG_ERR("Uptime Service initialization failed: %d", ret);
		return ret;
	}
	LOG_INF("Uptime Service initialized");

	/* Boot sample was taken during sensor_manager_init(); seed GATT caches. */
	ret = sensor_manager_get_data(&sensor_data);
	if (ret != 0) {
		LOG_WRN("Failed to get boot sensor data: %d", ret);
		memset(&sensor_data, 0, sizeof(sensor_data));
	}

	if ((sensor_data.valid_mask & SENSOR_BATTERY) != 0) {
		ret = ble_battery_service_update_manual(sensor_data.battery_level,
							sensor_data.battery_charging);
		if (ret != 0) {
			LOG_WRN("Failed to seed BAS from boot sample: %d", ret);
		}
	}

	ret = ess_service_update(&sensor_data);
	if (ret != 0) {
		LOG_WRN("Failed to seed ESS from boot sample: %d", ret);
	}

	/* Small delay to ensure Bluetooth stack is ready */
	LOG_DBG("Waiting for Bluetooth stack to be ready");
	k_msleep((int32_t)BT_STACK_READY_DELAY_MS);

	LOG_DBG("Starting BLE advertising");
	ret = ble_advertiser_start(&ble_data);
	if (ret) {
		LOG_ERR("Failed to start BLE advertising: %d", ret);
		return ret;
	}
	LOG_INF("BLE advertising started");

	/* Print GPIO pin states again - after GPIO hogs should be applied */
	LOG_INF("=== GPIO States AFTER hog initialization delay ===");
	board_print_pin_states();

	LOG_INF("System initialized - advertising (sensor sampling on connect)");

	return 0;
}
```

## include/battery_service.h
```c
/*
 * Copyright (c) 2024 Nordic Semiconductor ASA
 *
 * SPDX-License-Identifier: LicenseRef-Nordic-5-Clause
 */

#ifndef BATTERY_SERVICE_H_
#define BATTERY_SERVICE_H_

#include <zephyr/types.h>
#include <stdbool.h>

#ifdef __cplusplus
extern "C" {
#endif

typedef void (*battery_charging_cb_t)(bool charging);

/**
 * @brief Initialize the battery service
 *
 * This function initializes the BLE Battery Service and starts
 * periodic battery level measurements using the Thingy52 voltage divider.
 *
 * @return 0 on success, negative error code on failure
 */
int battery_service_init(void);

/**
 * @brief Get the current battery level
 *
 * @return Battery level in percentage (0-100), or negative error code on failure
 */
int battery_service_get_level(void);

/**
 * @brief Sample battery level now
 *
 * Takes an immediate battery measurement and updates the cached level.
 * This should be called periodically by the main sensor sampling loop.
 *
 * @return 0 on success, negative error code on failure
 */
int battery_service_sample(void);

/**
 * @brief Check if battery is charging
 *
 * @return true if battery is charging, false if not charging or charging finished
 */
bool battery_service_is_charging(void);

/**
 * @brief Register callback for charging status changes
 *
 * @param callback Function to call when charging status changes
 */
void battery_service_register_charging_callback(battery_charging_cb_t callback);

#ifdef __cplusplus
}
#endif

#endif /* BATTERY_SERVICE_H_ */
```

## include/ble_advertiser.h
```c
/*
 * Copyright (c) 2024 Nordic Semiconductor ASA
 *
 * SPDX-License-Identifier: LicenseRef-Nordic-5-Clause
 */

#ifndef BLE_ADVERTISER_H_
#define BLE_ADVERTISER_H_

#include <stdint.h>
#include <stdbool.h>

#ifdef __cplusplus
extern "C" {
#endif

/**
 * @brief Environmental sensor advertising data
 */
struct ble_sensor_data {
	uint16_t temperature;     /* Temperature in 0.01°C */
	uint16_t humidity;        /* Humidity in 0.01% */
	uint16_t pressure;        /* Pressure in 0.1 hPa */
	uint16_t eco2;            /* CO2 in ppm */
	uint16_t tvoc;            /* TVOC in ppb */
	uint8_t battery_level;    /* Battery in % */
	uint8_t battery_charging; /* Battery charging status (0 = not charging, 1 = charging) */
} __packed;

_Static_assert(sizeof(struct ble_sensor_data) == 12U,
	       "ble_sensor_data wire size changed — update BLE advertisement payload");

/**
 * @brief Initialize BLE advertiser
 *
 * @return 0 on success, negative error code on failure
 */
int ble_advertiser_init(void);

/**
 * @brief Start advertising with sensor data
 *
 * @param data Sensor data to advertise
 * @return 0 on success, negative error code on failure
 */
int ble_advertiser_start(const struct ble_sensor_data *data);

/**
 * @brief Stop advertising
 *
 * @return 0 on success, negative error code on failure
 */
int ble_advertiser_stop(void);

#ifdef __cplusplus
}
#endif

#endif /* BLE_ADVERTISER_H_ */
```

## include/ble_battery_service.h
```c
/*
 * Copyright (c) 2024 Nordic Semiconductor ASA
 *
 * SPDX-License-Identifier: LicenseRef-Nordic-5-Clause
 */

#ifndef BLE_BATTERY_SERVICE_H_
#define BLE_BATTERY_SERVICE_H_

#include <stdint.h>
#include <stdbool.h>

#ifdef __cplusplus
extern "C" {
#endif

/**
 * @brief Initialize the BLE Battery Service
 *
 * This function initializes the Bluetooth Battery Service (BAS) and sets up
 * initial battery characteristics. It integrates with the hardware battery
 * service to get initial values.
 *
 * @return 0 on success, negative error code on failure
 */
int ble_battery_service_init(void);

/**
 * @brief Notify the BLE Battery Service that a GATT client has connected.
 *
 * Reads hardware battery state and starts the periodic BAS update loop.
 *
 * @return 0 on success, negative error code on failure
 */
int ble_battery_service_on_connected(void);

/**
 * @brief Notify the BLE Battery Service that a GATT client has disconnected.
 *
 * Stops the periodic BAS update loop when the last client disconnects.
 */
void ble_battery_service_on_disconnected(void);

/**
 * @brief Update BLE battery service from hardware
 *
 * Reads current battery level and charging status from the hardware
 * battery service and updates the BLE Battery Service characteristics.
 * Only updates if values have changed.
 *
 * @return 0 on success, negative error code on failure
 */
int ble_battery_service_update(void);

/**
 * @brief Manually update BLE battery service
 *
 * Updates the BLE Battery Service characteristics with provided values.
 * Use this when you have battery data from sensors or other sources.
 *
 * @param level Battery level in percentage (0-100)
 * @param charging True if battery is charging, false otherwise
 *
 * @return 0 on success, negative error code on failure
 */
int ble_battery_service_update_manual(uint8_t level, bool charging);

/**
 * @brief Get current cached battery level
 *
 * Returns the last known battery level from the BLE service cache.
 *
 * @return Battery level in percentage (0-100), or 0 if not initialized
 */
uint8_t ble_battery_service_get_level(void);

/**
 * @brief Get current cached charging status
 *
 * Returns the last known charging status from the BLE service cache.
 *
 * @return true if charging, false if not charging
 */
bool ble_battery_service_is_charging(void);

/**
 * @brief Set battery fault status
 *
 * Updates the Battery Level Status characteristic with fault information.
 *
 * @param fault_present True if battery fault is present, false otherwise
 *
 * @return 0 on success, negative error code on failure
 */
int ble_battery_service_set_fault(bool fault_present);

/**
 * @brief Set service required status
 *
 * Updates the Battery Level Status characteristic to indicate if battery
 * service is required.
 *
 * @param required True if service is required, false otherwise
 *
 * @return 0 on success, negative error code on failure
 */
int ble_battery_service_set_service_required(bool required);

#ifdef __cplusplus
}
#endif

#endif /* BLE_BATTERY_SERVICE_H_ */
```

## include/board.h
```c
/*
 * Copyright (c) 2024 Nordic Semiconductor ASA
 *
 * SPDX-License-Identifier: LicenseRef-Nordic-5-Clause
 */

#ifndef BOARD_H_
#define BOARD_H_

#ifdef __cplusplus
extern "C" {
#endif

/**
 * @brief Print all GPIO pin states for debugging
 *
 * This function prints a comprehensive report of all GPIO pin states
 * on both the nRF52832 (GPIO0) and SX1509B GPIO expander.
 * Useful for debugging hardware configurations and pin states.
 *
 * The report includes:
 * - All 32 GPIO0 pins with their functions and states
 * - All 16 SX1509B pins with their functions and states
 * - Critical pin analysis (SX1509B reset, CCS811 power, etc.)
 * - Summary statistics
 */
void board_print_pin_states(void);

#ifdef __cplusplus
}
#endif

#endif /* BOARD_H_ */
```

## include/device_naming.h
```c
/*
 * Simple device naming using hardware ID only
 * Nordic Thingy:52 Environmental Monitor
 *
 * Copyright (c) 2025
 * SPDX-License-Identifier: Apache-2.0
 */

#ifndef DEVICE_NAMING_H_
#define DEVICE_NAMING_H_

#include <stddef.h>

/* Device naming constants */
#define DEVICE_PREFIX       "T52"
#define DEVICE_NAME_MAX_LEN 64

#ifdef __cplusplus
extern "C" {
#endif

/**
 * Initialize device naming service
 *
 * @return 0 on success, negative error code on failure
 */
int device_naming_init(void);

/**
 * Get unique device name based on hardware ID
 *
 * @param name_buffer Buffer to store the device name
 * @param buffer_size Size of the buffer
 * @return 0 on success, negative error code on failure
 */
int device_naming_get_name(char *name_buffer, size_t buffer_size);

#ifdef __cplusplus
}
#endif

#endif /* DEVICE_NAMING_H_ */
```

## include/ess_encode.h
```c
/*
 * SPDX-License-Identifier: LicenseRef-Nordic-5-Clause
 *
 * Pure encoding helpers for the BLE Environmental Sensing Service.
 * Separated from ess_service.c so they can be unit-tested without the BT
 * stack. No Zephyr/BT dependencies.
 *
 * Wire formats per Bluetooth SIG ESS YAMLs in docs/datasheets/bluetooth-sig/:
 *   temperature  : sint16, 0.01 \u00b0C   ; "value not known" = 0x8000
 *   humidity     : uint16, 0.01 %      ; "value not known" = 0xFFFF
 *   pressure     : uint32, 0.1 Pa      ; no fixed range
 *   CO2 / VOC    : uint16, ppm / ppb   ; "value not known" = 0xFFFF
 */

#ifndef ESS_ENCODE_H_
#define ESS_ENCODE_H_

#include <stdbool.h>
#include <stdint.h>

#ifdef __cplusplus
extern "C" {
#endif

/* BT SIG "value not known" sentinels. */
#define ESS_UNKNOWN_S16 ((int16_t)0x8000)
#define ESS_UNKNOWN_U16 0xFFFFU

/* Wire-format limits (see ess_encode.c for citations). */
#define ESS_TEMP_MIN_E_2C  (-27315)
#define ESS_TEMP_MAX_E_2C  32767
#define ESS_HUM_MIN_E_2PCT 0U
#define ESS_HUM_MAX_E_2PCT 10000U
#define ESS_PRESS_MIN_DPA  260000UL  /* 260.0 hPa */
#define ESS_PRESS_MAX_DPA  1260000UL /* 1260.0 hPa */

/* ESS Trigger Setting conditions (Bluetooth SIG ESS, Trigger Setting descriptor). */
enum ess_trigger_condition {
	ESS_TRIGGER_INACTIVE = 0x00,
	ESS_TRIGGER_FIXED_TIME_INTERVAL = 0x01,
	ESS_TRIGGER_NO_LESS_THAN_SPECIFIED_TIME = 0x02,
	ESS_TRIGGER_VALUE_CHANGED = 0x03,
	ESS_TRIGGER_LESS_THAN_REF_VALUE = 0x04,
	ESS_TRIGGER_LESS_OR_EQUAL_TO_REF_VALUE = 0x05,
	ESS_TRIGGER_GREATER_THAN_REF_VALUE = 0x06,
	ESS_TRIGGER_GREATER_OR_EQUAL_TO_REF_VALUE = 0x07,
	ESS_TRIGGER_EQUAL_TO_REF_VALUE = 0x08,
	ESS_TRIGGER_NOT_EQUAL_TO_REF_VALUE = 0x09,
};

/*
 * Encode floating-point sensor reading into BLE wire format. Out-of-range
 * inputs are clamped to the valid range; NaN/Inf return the SIG "unknown"
 * sentinel where one is defined.
 */
int16_t ess_encode_temperature(float temp_celsius);
uint16_t ess_encode_humidity(float humidity_percent);
uint32_t ess_encode_pressure(float pressure_kpa);
uint16_t ess_encode_co2(uint16_t co2_ppm);
uint16_t ess_encode_tvoc(uint16_t tvoc_ppb);

/*
 * Trigger evaluation for ESS notifications. Returns true when the trigger
 * condition is satisfied for the given old/new/reference values.
 */
bool ess_should_notify_16(enum ess_trigger_condition condition, int16_t old_val, int16_t new_val,
			  int16_t ref_val);
bool ess_should_notify_32(enum ess_trigger_condition condition, int32_t old_val, int32_t new_val,
			  int32_t ref_val);

#ifdef __cplusplus
}
#endif

#endif /* ESS_ENCODE_H_ */
```

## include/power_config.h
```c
/*
 * Copyright (c) 2020 Nordic Semiconductor ASA
 *
 * SPDX-License-Identifier: LicenseRef-Nordic-5-Clause
 */

#ifndef POWER_CONFIG_H__
#define POWER_CONFIG_H__

/* Mesh publishing intervals */
#define MESH_PUBLISH_INTERVAL_S (30 * 60) /* 30 minutes */

/* Low power node poll intervals */
#define LPN_POLL_INTERVAL_S (60) /* 1 minute */

/* Power management timeouts */
#define MESH_IDLE_TIMEOUT_S (120) /* 2 minutes */

#endif /* POWER_CONFIG_H__ */
```

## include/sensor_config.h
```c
/*
 * Copyright (c) 2024 Nordic Semiconductor ASA
 *
 * SPDX-License-Identifier: LicenseRef-Nordic-5-Clause
 */

#ifndef SENSOR_CONFIG_H
#define SENSOR_CONFIG_H

#ifdef __cplusplus
extern "C" {
#endif

/**
 * @brief Centralized sensor configuration
 *
 * This file provides configuration for sensor sampling intervals used
 * by the sensor manager for periodic readings.
 */

/* Primary sensor sampling interval (in seconds) */
#define SENSOR_SAMPLING_INTERVAL_SEC 30

#ifdef __cplusplus
}
#endif

#endif /* SENSOR_CONFIG_H */
```
